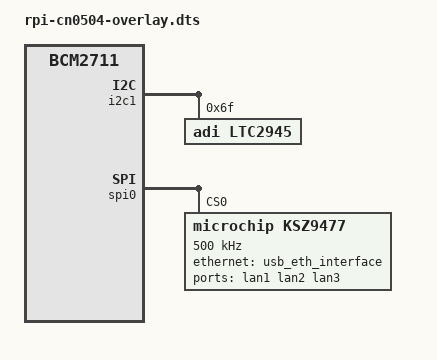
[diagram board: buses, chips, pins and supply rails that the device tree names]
// SPDX-License-Identifier: GPL-2.0
/dts-v1/;
/plugin/;

/ {
	compatible = "brcm,bcm2835", "brcm,bcm2708", "brcm,bcm2709", "brcm,bcm2711";
};

&ethernet {
	#address-cells = <2>;
	#size-cells = <0>;

	/* this works on RPi3 */
	usb_eth_interface: usb_eth_interface@0 {
		reg = <0 1>;
	};
};

&i2c1 {
	#address-cells = <1>;
	#size-cells = <0>;
	status = "okay";

	ltc2945@6f {
		compatible = "adi,ltc2945";
		reg = <0x6f>;

		shunt-resistor-micro-ohms = <20000>;
	};
};

&spi0 {
	#address-cells = <1>;
	#size-cells = <0>;
	status = "okay";

	ksz9477@0 {
		compatible = "microchip,ksz9477";
		reg = <0>;
		spi-max-frequency = <500000>;

		ports {
			#address-cells = <1>;
			#size-cells = <0>;
			/**
			 * LAN1 should be connected via an ethernet
			 * cable to the RPi's ethernet jack
			 */
			port@0 {
				reg = <0>;
				label = "lan1";
				ethernet = <&usb_eth_interface>;
			};

			port@1 {
				reg = <1>;
				label = "lan2";
			};

			port@2 {
				reg = <2>;
				label = "lan3";
			};
		};
	};
};

&spidev0 {
	status = "disabled";
};

&spidev1 {
	status = "disabled";
};
